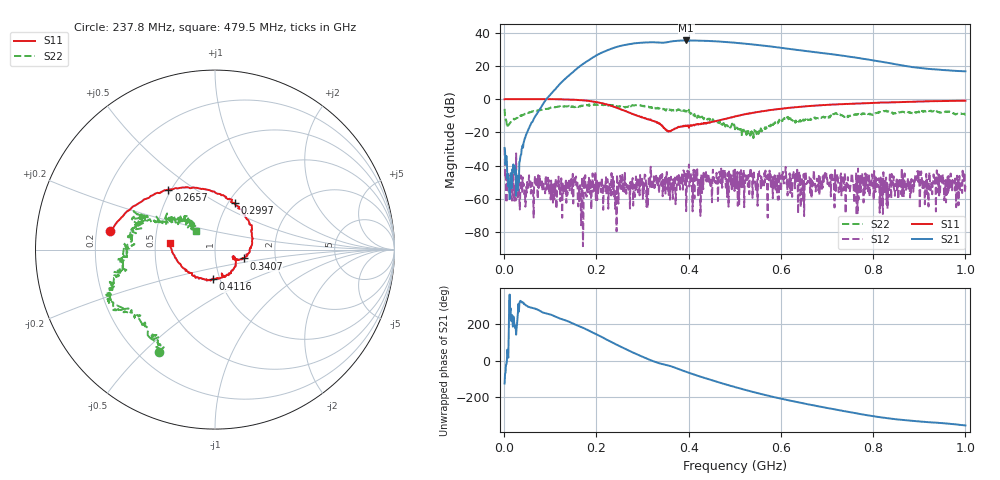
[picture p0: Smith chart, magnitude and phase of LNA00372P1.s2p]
! Created with skrf 1.9.0 (http://scikit-rf.org).
# Hz S RI R 50.0
!freq ReS11 ImS11 ReS21 ImS21 ReS12 ImS12 ReS22 ImS22
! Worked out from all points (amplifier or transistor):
!   1001 points, 1 MHz to 1 GHz, reference 50 ohm
!   highest |S21| = 35.2 dB at 394.6 MHz (marker M1)
!   |S21| within 3 dB of that: 256.6 MHz to 558.2 MHz (301.6 MHz wide, 74 % of centre)
!   unconditionally stable (mu >= 1): 235.9 MHz to 317.4 MHz; 317.9 MHz to 400.5 MHz; 400.7 MHz to end of sweep (the widest 3 of 41)
!   at 166.8 MHz: K = 24.26, MAG = 31.2 dB, |S12| = -75.8 dB
!   at 500.5 MHz: K = 1.34, MAG = 34.7 dB, |S12| = -42.4 dB
!   at 1 GHz: K = 5.25, MAG = 24.2 dB, |S12| = -52.1 dB
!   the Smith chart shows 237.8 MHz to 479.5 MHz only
!   S11 on the Smith chart (normalised r, x): 237.8 MHz: 0.26, +0.08; 265.7 MHz: 0.48, +0.39; 299.7 MHz: 1.07, +0.60; 340.7 MHz: 1.37, -0.14; 411.6 MHz: 0.93, -0.32; 479.5 MHz: 0.60, +0.05
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1000000  0.9855 -0.00104  -0.0196 -0.028  -0.0297 0.0148  0.3639 0.3547
1.07893e8  0.5136 -0.8533  -0.8298 -1.593  0.00117 -9.92e-05  0.4305 -0.39
1.67833e8  -0.263 -0.8873  -10.58 -0.2612  -0.000237 -0.000559  0.0397 -0.634
2.07793e8  -0.6712 -0.3804  -15.92 17.17  0.00305 -0.000669  -0.1974 -0.6635
2.37763e8  -0.5869 0.1017  -2.408 34.76  -0.00327 0.0012  -0.3144 -0.5684
2.65735e8  -0.2595 0.3347  22.13 37.09  -0.00233 -0.000512  -0.4471 -0.3769
2.99701e8  0.1095 0.2582  46.69 17.58  0.00173 0.00163  -0.582 -0.2422
3.17683e8  0.2047 0.136  50.84 1.67  -0.00638 0.00676  -0.5607 -0.1248
3.34666e8  0.194 -0.0128  48.75 -12.02  -0.00338 0.00242  -0.5097 -0.0396
3.4066e8  0.1592 -0.0492  47.22 -15.31  4.66e-06 0.00255  -0.5062 -0.0418
3.68632e8  0.114 -0.0553  44.08 -33.65  -1.97e-05 0.00379  -0.446 0.1388
3.94606e8  0.0672 -0.1396  27.59 -50.76  0.00042 -8.84e-05  -0.4082 0.1532
4.11589e8  -0.0101 -0.165  13.84 -55.53  0.0026 0.00287  -0.2929 0.1476
4.41559e8  -0.1447 -0.127  -10.34 -55.12  0.00278 0.00086  -0.1834 0.1779
4.79521e8  -0.2511 0.0355  -33.16 -40.35  0.00466 -0.000162  -0.1056 0.1047
5.005e8  -0.2647 0.1517  -40.51 -28.64  0.00556 0.00516  -0.0987 0.0753
5.38462e8  -0.1806 0.3386  -43.33 -7.458  0.000799 -0.000714  -0.0914 -0.0266
5.83417e8  0.0167 0.4798  -35.24 11.76  0.00107 -0.00227  -0.1692 -0.0724
6.67333e8  0.408 0.4767  -12.13 23.28  0.000684 -0.00351  -0.2715 -0.023
7.53247e8  0.6738 0.2658  4.08 17.95  -0.00397 -0.00425  -0.3158 0.0475
8.34166e8  0.795 0.00856  8.567 8.625  0.000223 -0.0012  -0.3953 0.1299
1e9  0.7181 -0.5388  6.802 0.8038  -0.00231 -0.00091  -0.1094 0.3297
